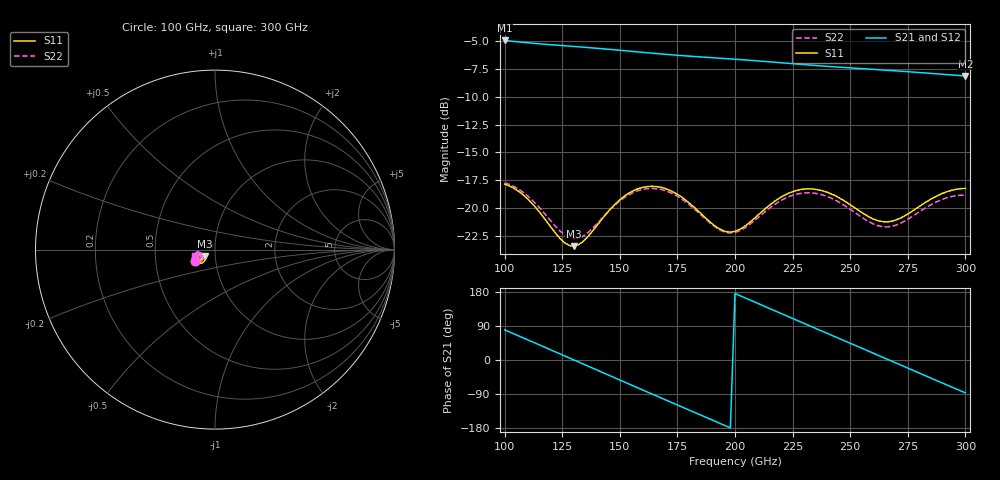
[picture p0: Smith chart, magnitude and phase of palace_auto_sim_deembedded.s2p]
! Created with skrf 1.11.0 (http://scikit-rf.org).
# GHz S DB R 50.0
!freq dBS11 angS11 dBS21 angS21 dBS12 angS12 dBS22 angS22
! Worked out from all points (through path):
!   101 points, 100 GHz to 300 GHz, reference 50 ohm
!   highest |S21| = -4.96 dB at 100 GHz (marker M1); lowest = -8.1 dB at 300 GHz (marker M2)
!   group delay of S21, straight-line fit = 7.31 ps
!   lowest |S11| = -23.4 dB at 130 GHz (marker M3), VSWR 1.15, Z = 44.4 - j3.13 ohm
!   |S11| at or under -10 dB: start of sweep to end of sweep
!   |S22| runs from -22.7 to -17.7 dB; largest |S21 - S12| = 7.7e-14
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100  -17.84 -149.5  -4.96 79.7  -4.96 79.7  -17.72 -150.1
108  -18.79 -160.1  -5.12 58.5  -5.12 58.5  -18.56 -160.7
116  -20.57 -165.6  -5.27 37.4  -5.27 37.4  -20.15 -166.7
130  -23.40 -148.7  -5.49 0.4  -5.49 0.4  -22.74 -154.3
134  -22.99 -140.5  -5.56 -10.3  -5.56 -10.3  -22.51 -147.5
142  -21.03 -132.9  -5.69 -31.6  -5.69 -31.6  -20.95 -140.4
152  -18.91 -137.8  -5.87 -58.1  -5.87 -58.1  -19.04 -144.4
160  -18.12 -146.4  -6.02 -79.3  -6.02 -79.3  -18.30 -152.5
168  -18.13 -155.6  -6.17 -100.3  -6.17 -100.3  -18.32 -161.4
176  -18.88 -163.1  -6.30 -121.3  -6.30 -121.3  -19.05 -168.8
186  -20.63 -166.0  -6.44 -147.6  -6.44 -147.6  -20.74 -171.8
200  -22.07 -150.6  -6.64 175.5  -6.64 175.5  -22.17 -157.6
208  -20.98 -142.3  -6.76 154.4  -6.76 154.4  -21.18 -149.8
218  -19.26 -142.8  -6.92 128.0  -6.92 128.0  -19.55 -150.4
226  -18.45 -148.3  -7.05 107.0  -7.05 107.0  -18.78 -155.9
234  -18.28 -155.2  -7.18 86.0  -7.18 86.0  -18.64 -162.8
242  -18.73 -161.2  -7.30 65.1  -7.30 65.1  -19.12 -168.9
252  -19.96 -164.0  -7.44 39.0  -7.44 39.0  -20.38 -171.9
268  -21.16 -151.9  -7.66 -3.0  -7.66 -3.0  -21.62 -160.0
276  -20.38 -145.8  -7.77 -24.0  -7.77 -24.0  -20.86 -154.1
286  -19.07 -145.6  -7.92 -50.2  -7.92 -50.2  -19.58 -154.2
300  -18.22 -153.6  -8.14 -86.7  -8.14 -86.7  -18.82 -162.8
